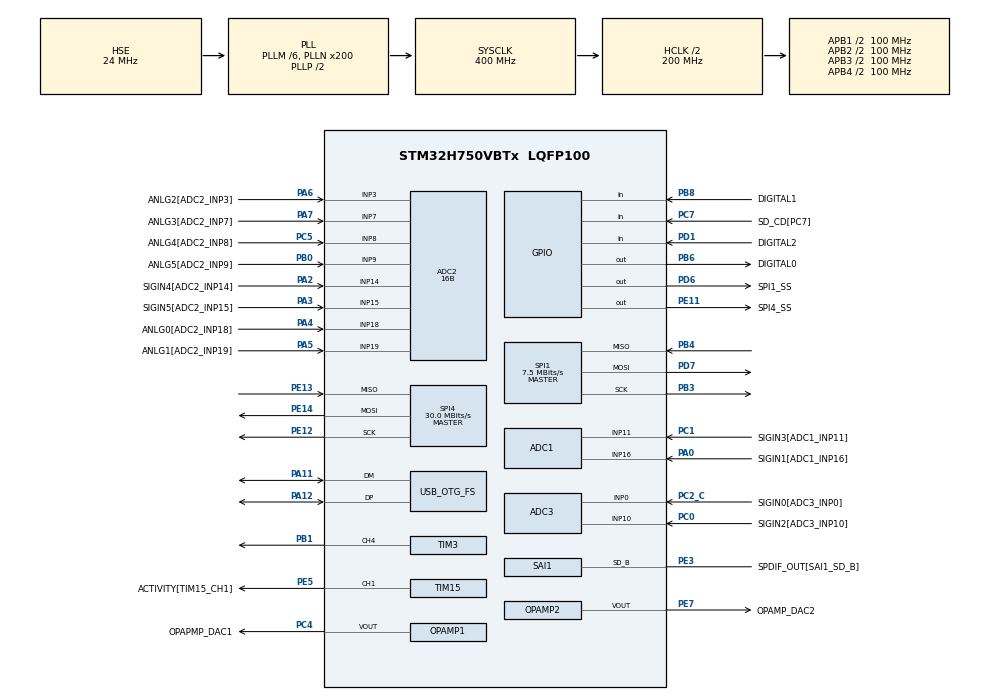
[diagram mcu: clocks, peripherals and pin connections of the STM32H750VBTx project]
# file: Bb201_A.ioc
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ADC1.Channel-0\#ChannelRegularConversion=ADC_CHANNEL_16
ADC1.Channel-1\#ChannelRegularConversion=ADC_CHANNEL_11
ADC1.ClockPrescaler=ADC_CLOCK_ASYNC_DIV8
ADC1.ExternalTrigConv=ADC_EXTERNALTRIG_T6_TRGO
ADC1.NbrOfConversion=2
ADC1.NbrOfConversionFlag=1
ADC1.OffsetNumber-0\#ChannelRegularConversion=ADC_OFFSET_NONE
ADC1.OffsetNumber-1\#ChannelRegularConversion=ADC_OFFSET_NONE
ADC1.Rank-0\#ChannelRegularConversion=1
ADC1.Rank-1\#ChannelRegularConversion=2
ADC1.SamplingTime-0\#ChannelRegularConversion=ADC_SAMPLETIME_1CYCLE_5
ADC1.SamplingTime-1\#ChannelRegularConversion=ADC_SAMPLETIME_1CYCLE_5
ADC1.master=1
ADC2.Channel-0\#ChannelRegularConversion=ADC_CHANNEL_14
ADC2.Channel-1\#ChannelRegularConversion=ADC_CHANNEL_15
ADC2.Channel-2\#ChannelRegularConversion=ADC_CHANNEL_18
ADC2.Channel-3\#ChannelRegularConversion=ADC_CHANNEL_19
ADC2.Channel-4\#ChannelRegularConversion=ADC_CHANNEL_3
ADC2.Channel-5\#ChannelRegularConversion=ADC_CHANNEL_7
ADC2.Channel-6\#ChannelRegularConversion=ADC_CHANNEL_8
ADC2.Channel-7\#ChannelRegularConversion=ADC_CHANNEL_9
ADC2.ClockPrescaler=ADC_CLOCK_ASYNC_DIV8
ADC2.ContinuousConvMode=DISABLE
ADC2.ConversionDataManagement=ADC_CONVERSIONDATA_DMA_CIRCULAR
ADC2.EOCSelection=ADC_EOC_SEQ_CONV
ADC2.EnableInjectedConversion=DISABLE
ADC2.ExternalTrigConv=ADC_EXTERNALTRIG_LPTIM1_OUT
ADC2.NbrOfConversion=8
ADC2.NbrOfConversionFlag=1
ADC2.OffsetNumber-0\#ChannelRegularConversion=ADC_OFFSET_NONE
ADC2.OffsetNumber-1\#ChannelRegularConversion=ADC_OFFSET_NONE
ADC2.OffsetNumber-2\#ChannelRegularConversion=ADC_OFFSET_NONE
ADC2.OffsetNumber-3\#ChannelRegularConversion=ADC_OFFSET_NONE
ADC2.OffsetNumber-4\#ChannelRegularConversion=ADC_OFFSET_NONE
ADC2.OffsetNumber-5\#ChannelRegularConversion=ADC_OFFSET_NONE
ADC2.OffsetNumber-6\#ChannelRegularConversion=ADC_OFFSET_NONE
ADC2.OffsetNumber-7\#ChannelRegularConversion=ADC_OFFSET_NONE
ADC2.Rank-0\#ChannelRegularConversion=1
ADC2.Rank-1\#ChannelRegularConversion=2
ADC2.Rank-2\#ChannelRegularConversion=3
ADC2.Rank-3\#ChannelRegularConversion=4
ADC2.Rank-4\#ChannelRegularConversion=5
ADC2.Rank-5\#ChannelRegularConversion=6
ADC2.Rank-6\#ChannelRegularConversion=7
ADC2.Rank-7\#ChannelRegularConversion=8
ADC2.Resolution=ADC_RESOLUTION_16B
ADC2.SamplingTime-0\#ChannelRegularConversion=ADC_SAMPLETIME_1CYCLE_5
ADC2.SamplingTime-1\#ChannelRegularConversion=ADC_SAMPLETIME_1CYCLE_5
ADC2.SamplingTime-2\#ChannelRegularConversion=ADC_SAMPLETIME_1CYCLE_5
ADC2.SamplingTime-3\#ChannelRegularConversion=ADC_SAMPLETIME_1CYCLE_5
ADC2.SamplingTime-4\#ChannelRegularConversion=ADC_SAMPLETIME_1CYCLE_5
ADC2.SamplingTime-5\#ChannelRegularConversion=ADC_SAMPLETIME_1CYCLE_5
ADC2.SamplingTime-6\#ChannelRegularConversion=ADC_SAMPLETIME_1CYCLE_5
ADC2.SamplingTime-7\#ChannelRegularConversion=ADC_SAMPLETIME_1CYCLE_5
ADC3.Channel-0\#ChannelRegularConversion=ADC_CHANNEL_0
ADC3.ClockPrescaler=ADC_CLOCK_ASYNC_DIV8
ADC3.ExternalTrigConv=ADC_EXTERNALTRIG_T6_TRGO
ADC3.NbrOfConversionFlag=1
ADC3.OffsetNumber-0\#ChannelRegularConversion=ADC_OFFSET_NONE
ADC3.Rank-0\#ChannelRegularConversion=1
ADC3.SamplingTime-0\#ChannelRegularConversion=ADC_SAMPLETIME_1CYCLE_5
CORTEX_M7.CPU_ICache=Enabled
DAC1.DAC_Channel-DAC_OUT2_Int=DAC_CHANNEL_2
Dma.ADC2.0.Direction=DMA_PERIPH_TO_MEMORY
Dma.ADC2.0.EventEnable=DISABLE
Dma.ADC2.0.FIFOMode=DMA_FIFOMODE_DISABLE
Dma.ADC2.0.Instance=DMA1_Stream0
Dma.ADC2.0.MemDataAlignment=DMA_MDATAALIGN_HALFWORD
Dma.ADC2.0.MemInc=DMA_MINC_ENABLE
Dma.ADC2.0.Mode=DMA_CIRCULAR
Dma.ADC2.0.PeriphDataAlignment=DMA_PDATAALIGN_HALFWORD
Dma.ADC2.0.PeriphInc=DMA_PINC_DISABLE
Dma.ADC2.0.Polarity=HAL_DMAMUX_REQ_GEN_RISING
Dma.ADC2.0.Priority=DMA_PRIORITY_LOW
Dma.ADC2.0.RequestNumber=1
Dma.ADC2.0.SignalID=NONE
Dma.ADC2.0.SyncEnable=DISABLE
Dma.ADC2.0.SyncPolarity=HAL_DMAMUX_SYNC_NO_EVENT
Dma.ADC2.0.SyncRequestNumber=1
Dma.ADC2.0.SyncSignalID=NONE
Dma.Request0=ADC2
LPTIM1.ClockPrescaler=LPTIM_PRESCALER_DIV128
Mcu.Family=STM32H7
Mcu.Name=STM32H750VBTx
Mcu.Package=LQFP100
NVIC.DMA1_Stream0_IRQn=true\:0\:0\:false\:false\:true\:false\:true
NVIC.LPTIM1_IRQn=true\:0\:0\:false\:false\:true\:true\:true
NVIC.OTG_FS_IRQn=true\:0\:0\:false\:false\:true\:false\:true
NVIC.PriorityGroup=NVIC_PRIORITYGROUP_0
NVIC.TIM15_IRQn=true\:0\:0\:false\:false\:true\:true\:true
NVIC.TIM7_IRQn=true\:0\:0\:false\:false\:true\:true\:true
PA0.GPIO_Label=SIGIN1[ADC1_INP16]
PA0.Mode=IN16-Single-Ended
PA0.Signal=ADC1_INP16
PA11.Mode=Device_Only
PA11.Signal=USB_OTG_FS_DM
PA12.Mode=Device_Only
PA12.Signal=USB_OTG_FS_DP
PA13\ (JTMS/SWDIO).Mode=Serial_Wire
PA13\ (JTMS/SWDIO).Signal=DEBUG_JTMS-SWDIO
PA14\ (JTCK/SWCLK).Mode=Serial_Wire
PA14\ (JTCK/SWCLK).Signal=DEBUG_JTCK-SWCLK
PA2.GPIO_Label=SIGIN4[ADC2_INP14]
PA2.Signal=ADCx_INP14
PA3.GPIO_Label=SIGIN5[ADC2_INP15]
PA3.Signal=ADCx_INP15
PA4.GPIO_Label=ANLG0[ADC2_INP18]
PA4.Signal=ADCx_INP18
PA5.GPIO_Label=ANLG1[ADC2_INP19]
PA5.Signal=ADCx_INP19
PA6.GPIO_Label=ANLG2[ADC2_INP3]
PA6.Signal=ADCx_INP3
PA7.GPIO_Label=ANLG3[ADC2_INP7]
PA7.Signal=ADCx_INP7
PB0.GPIO_Label=ANLG5[ADC2_INP9]
PB0.Signal=ADCx_INP9
PB1.Signal=S_TIM3_CH4
PB3\ (JTDO/TRACESWO).Mode=Full_Duplex_Master
PB3\ (JTDO/TRACESWO).Signal=SPI1_SCK
PB4\ (NJTRST).Mode=Full_Duplex_Master
PB4\ (NJTRST).Signal=SPI1_MISO
PB6.GPIO_Label=DIGITAL0
PB6.Signal=GPIO_Output
PB8.GPIO_Label=DIGITAL1
PB8.Signal=GPIO_Input
PC0.GPIO_Label=SIGIN2[ADC3_INP10]
PC0.Signal=ADCx_INP10
PC1.GPIO_Label=SIGIN3[ADC1_INP11]
PC1.Signal=ADCx_INP11
PC2_C.GPIO_Label=SIGIN0[ADC3_INP0]
PC2_C.Mode=IN0-Single-Ended
PC2_C.Signal=ADC3_INP0
PC4.GPIO_Label=OPAPMP_DAC1
PC4.Mode=Follower-DAC_OUT1-INP
PC4.Signal=OPAMP1_VOUT
PC5.GPIO_Label=ANLG4[ADC2_INP8]
PC5.Signal=ADCx_INP8
PC7.GPIO_Label=SD_CD[PC7]
PC7.GPIO_PuPd=GPIO_PULLDOWN
PC7.Signal=GPIO_Input
PC9.Signal=SDMMC1_D1
PD1.GPIO_Label=DIGITAL2
PD1.Signal=GPIO_Input
PD6.GPIO_Label=SPI1_SS
PD6.Signal=GPIO_Output
PD7.Mode=Full_Duplex_Master
PD7.Signal=SPI1_MOSI
PE11.GPIO_Label=SPI4_SS
PE11.GPIO_PuPd=GPIO_PULLUP
PE11.GPIO_Speed=GPIO_SPEED_FREQ_MEDIUM
PE11.PinState=GPIO_PIN_SET
PE11.Signal=GPIO_Output
PE12.Mode=Full_Duplex_Master
PE12.Signal=SPI4_SCK
PE13.Mode=Full_Duplex_Master
PE13.Signal=SPI4_MISO
PE14.Mode=Full_Duplex_Master
PE14.Signal=SPI4_MOSI
PE3.GPIO_Label=SPDIF_OUT[SAI1_SD_B]
PE3.Mode=SAI_B_SPDIF
PE3.Signal=SAI1_SD_B
PE5.GPIO_Label=ACTIVITY[TIM15_CH1]
PE5.Signal=S_TIM15_CH1
PE7.GPIO_Label=OPAMP_DAC2
PE7.Mode=Follower-DAC_OUT2-INP
PE7.Signal=OPAMP2_VOUT
PH0-OSC_IN\ (PH0).Mode=HSE-External-Oscillator
PH0-OSC_IN\ (PH0).Signal=RCC_OSC_IN
PH1-OSC_OUT\ (PH1).Mode=HSE-External-Oscillator
PH1-OSC_OUT\ (PH1).Signal=RCC_OSC_OUT
ProjectManager.HeapSize=0x200
ProjectManager.StackSize=0x400
ProjectManager.TargetToolchain=STM32CubeIDE
RCC.ADCFreq_Value=12000000
RCC.APB1Freq_Value=100000000
RCC.APB2Freq_Value=100000000
RCC.APB3Freq_Value=100000000
RCC.APB4Freq_Value=100000000
RCC.CKPERSourceSelection=RCC_CLKPSOURCE_HSE
RCC.CortexFreq_Value=400000000
RCC.D1PPRE=RCC_APB3_DIV2
RCC.D2PPRE1=RCC_APB1_DIV2
RCC.D2PPRE2=RCC_APB2_DIV2
RCC.D3PPRE=RCC_APB4_DIV2
RCC.DIVM1=6
RCC.DIVM2=2
RCC.DIVM3=16
RCC.DIVN1=200
RCC.DIVN2=20
RCC.DIVN3=160
RCC.DIVP2=20
RCC.DIVP3=8
RCC.DIVQ1=8
RCC.DIVR1=8
RCC.DIVR2=10
RCC.HCLKFreq_Value=200000000
RCC.HPRE=RCC_HCLK_DIV2
RCC.HSE_VALUE=24000000
RCC.PLL1_VCI_Range=RCC_PLL1VCIRANGE_3
RCC.PLL2_VCI_Range=RCC_PLL2VCIRANGE_3
RCC.PLLSourceVirtual=RCC_PLLSOURCE_HSE
RCC.SAI1CLockSelection=RCC_SAI1CLKSOURCE_PLL3
RCC.SDMMC1CLockSelection=RCC_SDMMCCLKSOURCE_PLL2
RCC.SPI123CLockSelection=RCC_SPI123CLKSOURCE_PLL3
RCC.SYSCLKFreq_VALUE=400000000
RCC.SYSCLKSource=RCC_SYSCLKSOURCE_PLLCLK
RCC.Spi45ClockSelection=RCC_SPI45CLKSOURCE_PLL3
RCC.USBCLockSelection=RCC_USBCLKSOURCE_HSI48
RCC.USBFreq_Value=48000000
SAI1.Instance-SAI_B_SPDIF=SAI$Index_Block_B
SAI1.RealAudioFreq-SAI_B_SPDIF=7.5 MHz
SAI1.VirtualMode-SAI_B_SPDIF=VM_SPDIF
SH.ADCx_INP10.0=ADC3_INP10,IN10-Single-Ended
SH.ADCx_INP11.0=ADC1_INP11,IN11-Single-Ended
SH.ADCx_INP14.0=ADC2_INP14,IN14-Single-Ended
SH.ADCx_INP15.0=ADC2_INP15,IN15-Single-Ended
SH.ADCx_INP18.0=ADC2_INP18,IN18-Single-Ended
SH.ADCx_INP19.0=ADC2_INP19,IN19-Single-Ended
SH.ADCx_INP3.0=ADC2_INP3,IN3-Single-Ended
SH.ADCx_INP7.0=ADC2_INP7,IN7-Single-Ended
SH.ADCx_INP8.0=ADC2_INP8,IN8-Single-Ended
SH.ADCx_INP9.0=ADC2_INP9,IN9-Single-Ended
SH.S_TIM15_CH1.0=TIM15_CH1,PWM Generation1 CH1
SH.S_TIM3_CH4.0=TIM3_CH4,PWM Generation4 CH4
SPI1.BaudRatePrescaler=SPI_BAUDRATEPRESCALER_4
SPI1.CalculateBaudRate=7.5 MBits/s
SPI1.DataSize=SPI_DATASIZE_8BIT
SPI1.Direction=SPI_DIRECTION_2LINES
SPI1.Mode=SPI_MODE_MASTER
SPI1.VirtualType=VM_MASTER
SPI4.BaudRatePrescaler=SPI_BAUDRATEPRESCALER_4
SPI4.CalculateBaudRate=30.0 MBits/s
SPI4.DataSize=SPI_DATASIZE_8BIT
SPI4.Direction=SPI_DIRECTION_2LINES
SPI4.Mode=SPI_MODE_MASTER
SPI4.VirtualType=VM_MASTER
TIM15.Channel-PWM\ Generation1\ CH1=TIM_CHANNEL_1
TIM15.OCPolarity_1=TIM_OCPOLARITY_LOW
TIM15.Period=40000
TIM15.Prescaler=4800
TIM15.Pulse-PWM\ Generation1\ CH1=1000
TIM3.Channel-PWM\ Generation4\ CH4=TIM_CHANNEL_4
TIM3.Period=20000
TIM3.Prescaler=200
TIM3.Pulse-PWM\ Generation4\ CH4=10000
TIM6.TIM_MasterOutputTrigger=TIM_TRGO_UPDATE
TIM7.Period=100
TIM7.Prescaler=20000
TIM8.TIM_MasterOutputTrigger=TIM_TRGO_UPDATE
USB_DEVICE.CLASS_NAME_FS=CDC
USB_DEVICE.VirtualMode-CDC_FS=Cdc
USB_DEVICE.VirtualModeFS=Cdc_FS
USB_OTG_FS.VirtualMode=Device_Only
VP_DAC1_VS_DACI1.Mode=DAC_OUT1_Int
VP_DAC1_VS_DACI2.Mode=DAC_OUT2_Int
VP_LPTIM1_VS_LPTIM_counterModeInternalClock.Mode=Counts__internal_clock_event_00
VP_TIM15_VS_ClockSourceINT.Mode=Internal
VP_TIM3_VS_ClockSourceINT.Mode=Internal
VP_TIM6_VS_ClockSourceINT.Mode=Enable_Timer
VP_TIM7_VS_ClockSourceINT.Mode=Enable_Timer
VP_TIM8_VS_ClockSourceINT.Mode=Internal
VP_USB_DEVICE_VS_USB_DEVICE_CDC_FS.Mode=CDC_FS
board=custom

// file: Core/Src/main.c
/* USER CODE BEGIN Header */
/**
  ******************************************************************************
  * @file           : main.c
  * @brief          : Main program body
  ******************************************************************************
  * @attention
  *
  * <h2><center>&copy; Copyright (c) 2020 STMicroelectronics.
  * All rights reserved.</center></h2>
  *
  * This software component is licensed by ST under BSD 3-Clause license,
  * the "License"; You may not use this file except in compliance with the
  * License. You may obtain a copy of the License at:
  *                        opensource.org/licenses/BSD-3-Clause
  *
  ******************************************************************************
  */
/* USER CODE END Header */

#include "main.h"
#include "usb_device.h"

/* USER CODE BEGIN Includes */
#include "Lcd/Lcd.h"
#include "SpiFlash/FlashOps.h"

/* USER CODE END Includes */

ADC_HandleTypeDef hadc1;
ADC_HandleTypeDef hadc2;
ADC_HandleTypeDef hadc3;
DMA_HandleTypeDef hdma_adc2;

DAC_HandleTypeDef hdac1;

LPTIM_HandleTypeDef hlptim1;

OPAMP_HandleTypeDef hopamp1;
OPAMP_HandleTypeDef hopamp2;

SAI_HandleTypeDef hsai_BlockB1;

SPI_HandleTypeDef hspi1;
SPI_HandleTypeDef hspi4;

TIM_HandleTypeDef htim3;
TIM_HandleTypeDef htim6;
TIM_HandleTypeDef htim7;
TIM_HandleTypeDef htim8;
TIM_HandleTypeDef htim15;

void SystemClock_Config(void);
static void MX_GPIO_Init(void);
static void MX_ADC1_Init(void);
static void MX_ADC2_Init(void);
static void MX_ADC3_Init(void);
static void MX_DAC1_Init(void);
static void MX_OPAMP1_Init(void);
static void MX_OPAMP2_Init(void);
static void MX_SPI4_Init(void);
static void MX_TIM15_Init(void);
static void MX_SAI1_Init(void);
static void MX_SPI1_Init(void);
static void MX_DMA_Init(void);
static void MX_TIM6_Init(void);
static void MX_TIM8_Init(void);
static void MX_LPTIM1_Init(void);
static void MX_TIM3_Init(void);
static void MX_TIM7_Init(void);

/* USER CODE BEGIN 0 */
uint16_t	flash_present, number_of_images;
uint16_t	lcd_brightness, lcd_brightness_direction;

/* USER CODE END 0 */

int main(void)
{

  /* Enable I-Cache---------------------------------------------------------*/
  SCB_EnableICache();

  /* MCU Configuration--------------------------------------------------------*/

  /* Reset of all peripherals, Initializes the Flash interface and the Systick. */
  HAL_Init();

  /* Configure the system clock */
  SystemClock_Config();

  /* Initialize all configured peripherals */
  MX_GPIO_Init();
  MX_ADC1_Init();
  MX_ADC2_Init();
  MX_ADC3_Init();
  MX_DAC1_Init();
  MX_OPAMP1_Init();
  MX_OPAMP2_Init();
  MX_SPI4_Init();
  MX_TIM15_Init();
  MX_SAI1_Init();
  MX_SPI1_Init();
  MX_USB_DEVICE_Init();
  MX_DMA_Init();
  MX_TIM6_Init();
  MX_TIM8_Init();
  MX_LPTIM1_Init();
  MX_TIM3_Init();
  MX_TIM7_Init();
  /* USER CODE BEGIN 2 */
  flash_present= FlashOps_Setup();
  if ( flash_present )
	  number_of_images = FlashOpsCheckImages();
  HAL_TIM_PWM_Start(&htim15,TIM_CHANNEL_1);
  LcdInit();
  HAL_TIM_Base_Start_IT(&htim7);
  ControlInit();
  lcd_brightness=0;
  lcd_brightness_direction = 1; // up
  /* USER CODE END 2 */

  /* Infinite loop */
  /* USER CODE BEGIN WHILE */
  while (1)
  {
	  if ( lcd_brightness_direction == 1)
	  {
		  lcd_brightness++;
		  if ( lcd_brightness == 0xffff)
			  lcd_brightness_direction = 0;
	  }
	  if ( lcd_brightness_direction == 0)
	  {
		  lcd_brightness--;
		  if ( lcd_brightness == 0)
			  lcd_brightness_direction = 1;
	  }
	  LcdSetBrightness(lcd_brightness);
	  //HAL_Delay(10);
    /* USER CODE END WHILE */

  }
}

void SystemClock_Config(void)
{
  RCC_OscInitTypeDef RCC_OscInitStruct = {0};
  RCC_ClkInitTypeDef RCC_ClkInitStruct = {0};
  RCC_PeriphCLKInitTypeDef PeriphClkInitStruct = {0};

  /** Supply configuration update enable
  */
  HAL_PWREx_ConfigSupply(PWR_LDO_SUPPLY);
  /** Configure the main internal regulator output voltage
  */
  __HAL_PWR_VOLTAGESCALING_CONFIG(PWR_REGULATOR_VOLTAGE_SCALE1);

  while(!__HAL_PWR_GET_FLAG(PWR_FLAG_VOSRDY)) {}
  /** Macro to configure the PLL clock source
  */
  __HAL_RCC_PLL_PLLSOURCE_CONFIG(RCC_PLLSOURCE_HSE);
  /** Initializes the CPU, AHB and APB busses clocks
  */
  RCC_OscInitStruct.OscillatorType = RCC_OSCILLATORTYPE_HSI48|RCC_OSCILLATORTYPE_HSE;
  RCC_OscInitStruct.HSEState = RCC_HSE_ON;
  RCC_OscInitStruct.HSI48State = RCC_HSI48_ON;
  RCC_OscInitStruct.PLL.PLLState = RCC_PLL_ON;
  RCC_OscInitStruct.PLL.PLLSource = RCC_PLLSOURCE_HSE;
  RCC_OscInitStruct.PLL.PLLM = 6;
  RCC_OscInitStruct.PLL.PLLN = 200;
  RCC_OscInitStruct.PLL.PLLP = 2;
  RCC_OscInitStruct.PLL.PLLQ = 8;
  RCC_OscInitStruct.PLL.PLLR = 8;
  RCC_OscInitStruct.PLL.PLLRGE = RCC_PLL1VCIRANGE_3;
  RCC_OscInitStruct.PLL.PLLVCOSEL = RCC_PLL1VCOWIDE;
  RCC_OscInitStruct.PLL.PLLFRACN = 0;
  if (HAL_RCC_OscConfig(&RCC_OscInitStruct) != HAL_OK)
  {
    Error_Handler();
  }
  /** Initializes the CPU, AHB and APB busses clocks
  */
  RCC_ClkInitStruct.ClockType = RCC_CLOCKTYPE_HCLK|RCC_CLOCKTYPE_SYSCLK
                              |RCC_CLOCKTYPE_PCLK1|RCC_CLOCKTYPE_PCLK2
                              |RCC_CLOCKTYPE_D3PCLK1|RCC_CLOCKTYPE_D1PCLK1;
  RCC_ClkInitStruct.SYSCLKSource = RCC_SYSCLKSOURCE_PLLCLK;
  RCC_ClkInitStruct.SYSCLKDivider = RCC_SYSCLK_DIV1;
  RCC_ClkInitStruct.AHBCLKDivider = RCC_HCLK_DIV2;
  RCC_ClkInitStruct.APB3CLKDivider = RCC_APB3_DIV2;
  RCC_ClkInitStruct.APB1CLKDivider = RCC_APB1_DIV2;
  RCC_ClkInitStruct.APB2CLKDivider = RCC_APB2_DIV2;
  RCC_ClkInitStruct.APB4CLKDivider = RCC_APB4_DIV2;

  if (HAL_RCC_ClockConfig(&RCC_ClkInitStruct, FLASH_LATENCY_2) != HAL_OK)
  {
    Error_Handler();
  }
  PeriphClkInitStruct.PeriphClockSelection = RCC_PERIPHCLK_SPI4|RCC_PERIPHCLK_SPI1
                              |RCC_PERIPHCLK_SAI1|RCC_PERIPHCLK_ADC
                              |RCC_PERIPHCLK_USB|RCC_PERIPHCLK_LPTIM1;
  PeriphClkInitStruct.PLL2.PLL2M = 2;
  PeriphClkInitStruct.PLL2.PLL2N = 20;
  PeriphClkInitStruct.PLL2.PLL2P = 20;
  PeriphClkInitStruct.PLL2.PLL2Q = 2;
  PeriphClkInitStruct.PLL2.PLL2R = 10;
  PeriphClkInitStruct.PLL2.PLL2RGE = RCC_PLL2VCIRANGE_3;
  PeriphClkInitStruct.PLL2.PLL2VCOSEL = RCC_PLL2VCOWIDE;
  PeriphClkInitStruct.PLL2.PLL2FRACN = 0;
  PeriphClkInitStruct.PLL3.PLL3M = 16;
  PeriphClkInitStruct.PLL3.PLL3N = 160;
  PeriphClkInitStruct.PLL3.PLL3P = 8;
  PeriphClkInitStruct.PLL3.PLL3Q = 2;
  PeriphClkInitStruct.PLL3.PLL3R = 2;
  PeriphClkInitStruct.PLL3.PLL3RGE = RCC_PLL3VCIRANGE_0;
  PeriphClkInitStruct.PLL3.PLL3VCOSEL = RCC_PLL3VCOWIDE;
  PeriphClkInitStruct.PLL3.PLL3FRACN = 0;
  PeriphClkInitStruct.Sai1ClockSelection = RCC_SAI1CLKSOURCE_PLL3;
  PeriphClkInitStruct.Spi123ClockSelection = RCC_SPI123CLKSOURCE_PLL3;
  PeriphClkInitStruct.Spi45ClockSelection = RCC_SPI45CLKSOURCE_PLL3;
  PeriphClkInitStruct.UsbClockSelection = RCC_USBCLKSOURCE_HSI48;
  PeriphClkInitStruct.Lptim1ClockSelection = RCC_LPTIM1CLKSOURCE_D2PCLK1;
  PeriphClkInitStruct.AdcClockSelection = RCC_ADCCLKSOURCE_PLL2;
  if (HAL_RCCEx_PeriphCLKConfig(&PeriphClkInitStruct) != HAL_OK)
  {
    Error_Handler();
  }
  /** Enable USB Voltage detector
  */
  HAL_PWREx_EnableUSBVoltageDetector();
}

static void MX_ADC1_Init(void)
{

  ADC_MultiModeTypeDef multimode = {0};
  ADC_ChannelConfTypeDef sConfig = {0};

  /** Common config
  */
  hadc1.Instance = ADC1;
  hadc1.Init.ClockPrescaler = ADC_CLOCK_ASYNC_DIV8;
  hadc1.Init.Resolution = ADC_RESOLUTION_16B;
  hadc1.Init.ScanConvMode = ADC_SCAN_ENABLE;
  hadc1.Init.EOCSelection = ADC_EOC_SINGLE_CONV;
  hadc1.Init.LowPowerAutoWait = DISABLE;
  hadc1.Init.ContinuousConvMode = DISABLE;
  hadc1.Init.NbrOfConversion = 2;
  hadc1.Init.DiscontinuousConvMode = DISABLE;
  hadc1.Init.ExternalTrigConv = ADC_EXTERNALTRIG_T6_TRGO;
  hadc1.Init.ExternalTrigConvEdge = ADC_EXTERNALTRIGCONVEDGE_RISING;
  hadc1.Init.ConversionDataManagement = ADC_CONVERSIONDATA_DR;
  hadc1.Init.Overrun = ADC_OVR_DATA_PRESERVED;
  hadc1.Init.LeftBitShift = ADC_LEFTBITSHIFT_NONE;
  hadc1.Init.OversamplingMode = DISABLE;
  if (HAL_ADC_Init(&hadc1) != HAL_OK)
  {
    Error_Handler();
  }
  /** Configure the ADC multi-mode
  */
  multimode.Mode = ADC_MODE_INDEPENDENT;
  if (HAL_ADCEx_MultiModeConfigChannel(&hadc1, &multimode) != HAL_OK)
  {
    Error_Handler();
  }
  /** Configure Regular Channel
  */
  sConfig.Channel = ADC_CHANNEL_16;
  sConfig.Rank = ADC_REGULAR_RANK_1;
  sConfig.SamplingTime = ADC_SAMPLETIME_1CYCLE_5;
  sConfig.SingleDiff = ADC_SINGLE_ENDED;
  sConfig.OffsetNumber = ADC_OFFSET_NONE;
  sConfig.Offset = 0;
  if (HAL_ADC_ConfigChannel(&hadc1, &sConfig) != HAL_OK)
  {
    Error_Handler();
  }
  /** Configure Regular Channel
  */
  sConfig.Channel = ADC_CHANNEL_11;
  sConfig.Rank = ADC_REGULAR_RANK_2;
  if (HAL_ADC_ConfigChannel(&hadc1, &sConfig) != HAL_OK)
  {
    Error_Handler();
  }

}

static void MX_ADC2_Init(void)
{

  ADC_ChannelConfTypeDef sConfig = {0};

  /** Common config
  */
  hadc2.Instance = ADC2;
  hadc2.Init.ClockPrescaler = ADC_CLOCK_ASYNC_DIV8;
  hadc2.Init.Resolution = ADC_RESOLUTION_16B;
  hadc2.Init.ScanConvMode = ADC_SCAN_ENABLE;
  hadc2.Init.EOCSelection = ADC_EOC_SEQ_CONV;
  hadc2.Init.LowPowerAutoWait = DISABLE;
  hadc2.Init.ContinuousConvMode = DISABLE;
  hadc2.Init.NbrOfConversion = 8;
  hadc2.Init.DiscontinuousConvMode = DISABLE;
  hadc2.Init.ExternalTrigConv = ADC_EXTERNALTRIG_LPTIM1_OUT;
  hadc2.Init.ExternalTrigConvEdge = ADC_EXTERNALTRIGCONVEDGE_RISING;
  hadc2.Init.ConversionDataManagement = ADC_CONVERSIONDATA_DMA_CIRCULAR;
  hadc2.Init.Overrun = ADC_OVR_DATA_PRESERVED;
  hadc2.Init.LeftBitShift = ADC_LEFTBITSHIFT_NONE;
  hadc2.Init.OversamplingMode = DISABLE;
  if (HAL_ADC_Init(&hadc2) != HAL_OK)
  {
    Error_Handler();
  }
  /** Configure Regular Channel
  */
  sConfig.Channel = ADC_CHANNEL_14;
  sConfig.Rank = ADC_REGULAR_RANK_1;
  sConfig.SamplingTime = ADC_SAMPLETIME_1CYCLE_5;
  sConfig.SingleDiff = ADC_SINGLE_ENDED;
  sConfig.OffsetNumber = ADC_OFFSET_NONE;
  sConfig.Offset = 0;
  if (HAL_ADC_ConfigChannel(&hadc2, &sConfig) != HAL_OK)
  {
    Error_Handler();
  }
  /** Configure Regular Channel
  */
  sConfig.Channel = ADC_CHANNEL_15;
  sConfig.Rank = ADC_REGULAR_RANK_2;
  if (HAL_ADC_ConfigChannel(&hadc2, &sConfig) != HAL_OK)
  {
    Error_Handler();
  }
  /** Configure Regular Channel
  */
  sConfig.Channel = ADC_CHANNEL_18;
  sConfig.Rank = ADC_REGULAR_RANK_3;
  if (HAL_ADC_ConfigChannel(&hadc2, &sConfig) != HAL_OK)
  {
    Error_Handler();
  }
  /** Configure Regular Channel
  */
  sConfig.Channel = ADC_CHANNEL_19;
  sConfig.Rank = ADC_REGULAR_RANK_4;
  if (HAL_ADC_ConfigChannel(&hadc2, &sConfig) != HAL_OK)
  {
    Error_Handler();
  }
  /** Configure Regular Channel
  */
  sConfig.Channel = ADC_CHANNEL_3;
  sConfig.Rank = ADC_REGULAR_RANK_5;
  if (HAL_ADC_ConfigChannel(&hadc2, &sConfig) != HAL_OK)
  {
    Error_Handler();
  }
  /** Configure Regular Channel
  */
  sConfig.Channel = ADC_CHANNEL_7;
  sConfig.Rank = ADC_REGULAR_RANK_6;
  if (HAL_ADC_ConfigChannel(&hadc2, &sConfig) != HAL_OK)
  {
    Error_Handler();
  }
  /** Configure Regular Channel
  */
  sConfig.Channel = ADC_CHANNEL_8;
  sConfig.Rank = ADC_REGULAR_RANK_7;
  if (HAL_ADC_ConfigChannel(&hadc2, &sConfig) != HAL_OK)
  {
    Error_Handler();
  }
  /** Configure Regular Channel
  */
  sConfig.Channel = ADC_CHANNEL_9;
  sConfig.Rank = ADC_REGULAR_RANK_8;
  if (HAL_ADC_ConfigChannel(&hadc2, &sConfig) != HAL_OK)
  {
    Error_Handler();
  }

}

static void MX_ADC3_Init(void)
{

  ADC_ChannelConfTypeDef sConfig = {0};

  /** Common config
  */
  hadc3.Instance = ADC3;
  hadc3.Init.ClockPrescaler = ADC_CLOCK_ASYNC_DIV8;
  hadc3.Init.Resolution = ADC_RESOLUTION_16B;
  hadc3.Init.ScanConvMode = ADC_SCAN_DISABLE;
  hadc3.Init.EOCSelection = ADC_EOC_SINGLE_CONV;
  hadc3.Init.LowPowerAutoWait = DISABLE;
  hadc3.Init.ContinuousConvMode = DISABLE;
  hadc3.Init.NbrOfConversion = 1;
  hadc3.Init.DiscontinuousConvMode = DISABLE;
  hadc3.Init.ExternalTrigConv = ADC_EXTERNALTRIG_T6_TRGO;
  hadc3.Init.ExternalTrigConvEdge = ADC_EXTERNALTRIGCONVEDGE_RISING;
  hadc3.Init.ConversionDataManagement = ADC_CONVERSIONDATA_DR;
  hadc3.Init.Overrun = ADC_OVR_DATA_PRESERVED;
  hadc3.Init.LeftBitShift = ADC_LEFTBITSHIFT_NONE;
  hadc3.Init.OversamplingMode = DISABLE;
  if (HAL_ADC_Init(&hadc3) != HAL_OK)
  {
    Error_Handler();
  }
  /** Configure Regular Channel
  */
  sConfig.Channel = ADC_CHANNEL_0;
  sConfig.Rank = ADC_REGULAR_RANK_1;
  sConfig.SamplingTime = ADC_SAMPLETIME_1CYCLE_5;
  sConfig.SingleDiff = ADC_SINGLE_ENDED;
  sConfig.OffsetNumber = ADC_OFFSET_NONE;
  sConfig.Offset = 0;
  if (HAL_ADC_ConfigChannel(&hadc3, &sConfig) != HAL_OK)
  {
    Error_Handler();
  }

}

static void MX_DAC1_Init(void)
{

  DAC_ChannelConfTypeDef sConfig = {0};

  /** DAC Initialization
  */
  hdac1.Instance = DAC1;
  if (HAL_DAC_Init(&hdac1) != HAL_OK)
  {
    Error_Handler();
  }
  /** DAC channel OUT1 config
  */
  sConfig.DAC_SampleAndHold = DAC_SAMPLEANDHOLD_DISABLE;
  sConfig.DAC_Trigger = DAC_TRIGGER_NONE;
  sConfig.DAC_OutputBuffer = DAC_OUTPUTBUFFER_DISABLE;
  sConfig.DAC_ConnectOnChipPeripheral = DAC_CHIPCONNECT_ENABLE;
  sConfig.DAC_UserTrimming = DAC_TRIMMING_FACTORY;
  if (HAL_DAC_ConfigChannel(&hdac1, &sConfig, DAC_CHANNEL_1) != HAL_OK)
  {
    Error_Handler();
  }
  /** DAC channel OUT2 config
  */
  sConfig.DAC_ConnectOnChipPeripheral = DAC_CHIPCONNECT_ENABLE;
  if (HAL_DAC_ConfigChannel(&hdac1, &sConfig, DAC_CHANNEL_2) != HAL_OK)
  {
    Error_Handler();
  }

}

static void MX_LPTIM1_Init(void)
{

  hlptim1.Instance = LPTIM1;
  hlptim1.Init.Clock.Source = LPTIM_CLOCKSOURCE_APBCLOCK_LPOSC;
  hlptim1.Init.Clock.Prescaler = LPTIM_PRESCALER_DIV128;
  hlptim1.Init.Trigger.Source = LPTIM_TRIGSOURCE_SOFTWARE;
  hlptim1.Init.OutputPolarity = LPTIM_OUTPUTPOLARITY_HIGH;
  hlptim1.Init.UpdateMode = LPTIM_UPDATE_IMMEDIATE;
  hlptim1.Init.CounterSource = LPTIM_COUNTERSOURCE_INTERNAL;
  hlptim1.Init.Input1Source = LPTIM_INPUT1SOURCE_GPIO;
  hlptim1.Init.Input2Source = LPTIM_INPUT2SOURCE_GPIO;
  if (HAL_LPTIM_Init(&hlptim1) != HAL_OK)
  {
    Error_Handler();
  }

}

static void MX_OPAMP1_Init(void)
{

  hopamp1.Instance = OPAMP1;
  hopamp1.Init.Mode = OPAMP_FOLLOWER_MODE;
  hopamp1.Init.NonInvertingInput = OPAMP_NONINVERTINGINPUT_DAC_CH;
  hopamp1.Init.PowerMode = OPAMP_POWERMODE_NORMAL;
  hopamp1.Init.UserTrimming = OPAMP_TRIMMING_FACTORY;
  if (HAL_OPAMP_Init(&hopamp1) != HAL_OK)
  {
    Error_Handler();
  }

}

static void MX_OPAMP2_Init(void)
{

  hopamp2.Instance = OPAMP2;
  hopamp2.Init.Mode = OPAMP_FOLLOWER_MODE;
  hopamp2.Init.NonInvertingInput = OPAMP_NONINVERTINGINPUT_DAC_CH;
  hopamp2.Init.PowerMode = OPAMP_POWERMODE_NORMAL;
  hopamp2.Init.UserTrimming = OPAMP_TRIMMING_FACTORY;
  if (HAL_OPAMP_Init(&hopamp2) != HAL_OK)
  {
    Error_Handler();
  }

}

static void MX_SAI1_Init(void)
{

  hsai_BlockB1.Instance = SAI1_Block_B;
  hsai_BlockB1.Init.Protocol = SAI_SPDIF_PROTOCOL;
  hsai_BlockB1.Init.AudioMode = SAI_MODEMASTER_TX;
  hsai_BlockB1.Init.Synchro = SAI_ASYNCHRONOUS;
  hsai_BlockB1.Init.OutputDrive = SAI_OUTPUTDRIVE_DISABLE;
  hsai_BlockB1.Init.FIFOThreshold = SAI_FIFOTHRESHOLD_EMPTY;
  hsai_BlockB1.Init.AudioFrequency = SAI_AUDIO_FREQUENCY_48K;
  hsai_BlockB1.Init.MonoStereoMode = SAI_STEREOMODE;
  hsai_BlockB1.Init.CompandingMode = SAI_NOCOMPANDING;
  hsai_BlockB1.Init.PdmInit.Activation = DISABLE;
  hsai_BlockB1.Init.PdmInit.MicPairsNbr = 1;
  hsai_BlockB1.Init.PdmInit.ClockEnable = SAI_PDM_CLOCK1_ENABLE;
  if (HAL_SAI_Init(&hsai_BlockB1) != HAL_OK)
  {
    Error_Handler();
  }

}

static void MX_SPI1_Init(void)
{

  /* SPI1 parameter configuration*/
  hspi1.Instance = SPI1;
  hspi1.Init.Mode = SPI_MODE_MASTER;
  hspi1.Init.Direction = SPI_DIRECTION_2LINES;
  hspi1.Init.DataSize = SPI_DATASIZE_8BIT;
  hspi1.Init.CLKPolarity = SPI_POLARITY_LOW;
  hspi1.Init.CLKPhase = SPI_PHASE_1EDGE;
  hspi1.Init.NSS = SPI_NSS_SOFT;
  hspi1.Init.BaudRatePrescaler = SPI_BAUDRATEPRESCALER_4;
  hspi1.Init.FirstBit = SPI_FIRSTBIT_MSB;
  hspi1.Init.TIMode = SPI_TIMODE_DISABLE;
  hspi1.Init.CRCCalculation = SPI_CRCCALCULATION_DISABLE;
  hspi1.Init.CRCPolynomial = 0x0;
  hspi1.Init.NSSPMode = SPI_NSS_PULSE_ENABLE;
  hspi1.Init.NSSPolarity = SPI_NSS_POLARITY_LOW;
  hspi1.Init.FifoThreshold = SPI_FIFO_THRESHOLD_01DATA;
  hspi1.Init.TxCRCInitializationPattern = SPI_CRC_INITIALIZATION_ALL_ZERO_PATTERN;
  hspi1.Init.RxCRCInitializationPattern = SPI_CRC_INITIALIZATION_ALL_ZERO_PATTERN;
  hspi1.Init.MasterSSIdleness = SPI_MASTER_SS_IDLENESS_00CYCLE;
  hspi1.Init.MasterInterDataIdleness = SPI_MASTER_INTERDATA_IDLENESS_00CYCLE;
  hspi1.Init.MasterReceiverAutoSusp = SPI_MASTER_RX_AUTOSUSP_DISABLE;
  hspi1.Init.MasterKeepIOState = SPI_MASTER_KEEP_IO_STATE_DISABLE;
  hspi1.Init.IOSwap = SPI_IO_SWAP_DISABLE;
  if (HAL_SPI_Init(&hspi1) != HAL_OK)
  {
    Error_Handler();
  }

}

static void MX_SPI4_Init(void)
{

  /* SPI4 parameter configuration*/
  hspi4.Instance = SPI4;
  hspi4.Init.Mode = SPI_MODE_MASTER;
  hspi4.Init.Direction = SPI_DIRECTION_2LINES;
  hspi4.Init.DataSize = SPI_DATASIZE_8BIT;
  hspi4.Init.CLKPolarity = SPI_POLARITY_LOW;
  hspi4.Init.CLKPhase = SPI_PHASE_1EDGE;
  hspi4.Init.NSS = SPI_NSS_SOFT;
  hspi4.Init.BaudRatePrescaler = SPI_BAUDRATEPRESCALER_4;
  hspi4.Init.FirstBit = SPI_FIRSTBIT_MSB;
  hspi4.Init.TIMode = SPI_TIMODE_DISABLE;
  hspi4.Init.CRCCalculation = SPI_CRCCALCULATION_DISABLE;
  hspi4.Init.CRCPolynomial = 0x0;
  hspi4.Init.NSSPMode = SPI_NSS_PULSE_ENABLE;
  hspi4.Init.NSSPolarity = SPI_NSS_POLARITY_LOW;
  hspi4.Init.FifoThreshold = SPI_FIFO_THRESHOLD_01DATA;
  hspi4.Init.TxCRCInitializationPattern = SPI_CRC_INITIALIZATION_ALL_ZERO_PATTERN;
  hspi4.Init.RxCRCInitializationPattern = SPI_CRC_INITIALIZATION_ALL_ZERO_PATTERN;
  hspi4.Init.MasterSSIdleness = SPI_MASTER_SS_IDLENESS_00CYCLE;
  hspi4.Init.MasterInterDataIdleness = SPI_MASTER_INTERDATA_IDLENESS_00CYCLE;
  hspi4.Init.MasterReceiverAutoSusp = SPI_MASTER_RX_AUTOSUSP_DISABLE;
  hspi4.Init.MasterKeepIOState = SPI_MASTER_KEEP_IO_STATE_DISABLE;
  hspi4.Init.IOSwap = SPI_IO_SWAP_DISABLE;
  if (HAL_SPI_Init(&hspi4) != HAL_OK)
  {
    Error_Handler();
  }

}

static void MX_TIM3_Init(void)
{

  TIM_ClockConfigTypeDef sClockSourceConfig = {0};
  TIM_MasterConfigTypeDef sMasterConfig = {0};
  TIM_OC_InitTypeDef sConfigOC = {0};

  htim3.Instance = TIM3;
  htim3.Init.Prescaler = 200;
  htim3.Init.CounterMode = TIM_COUNTERMODE_UP;
  htim3.Init.Period = 20000;
  htim3.Init.ClockDivision = TIM_CLOCKDIVISION_DIV1;
  htim3.Init.AutoReloadPreload = TIM_AUTORELOAD_PRELOAD_DISABLE;
  if (HAL_TIM_Base_Init(&htim3) != HAL_OK)
  {
    Error_Handler();
  }
  sClockSourceConfig.ClockSource = TIM_CLOCKSOURCE_INTERNAL;
  if (HAL_TIM_ConfigClockSource(&htim3, &sClockSourceConfig) != HAL_OK)
  {
    Error_Handler();
  }
  if (HAL_TIM_PWM_Init(&htim3) != HAL_OK)
  {
    Error_Handler();
  }
  sMasterConfig.MasterOutputTrigger = TIM_TRGO_RESET;
  sMasterConfig.MasterSlaveMode = TIM_MASTERSLAVEMODE_DISABLE;
  if (HAL_TIMEx_MasterConfigSynchronization(&htim3, &sMasterConfig) != HAL_OK)
  {
    Error_Handler();
  }
  sConfigOC.OCMode = TIM_OCMODE_PWM1;
  sConfigOC.Pulse = 10000;
  sConfigOC.OCPolarity = TIM_OCPOLARITY_HIGH;
  sConfigOC.OCFastMode = TIM_OCFAST_DISABLE;
  if (HAL_TIM_PWM_ConfigChannel(&htim3, &sConfigOC, TIM_CHANNEL_4) != HAL_OK)
  {
    Error_Handler();
  }
  HAL_TIM_MspPostInit(&htim3);

}

static void MX_TIM6_Init(void)
{

  TIM_MasterConfigTypeDef sMasterConfig = {0};

  htim6.Instance = TIM6;
  htim6.Init.Prescaler = 0;
  htim6.Init.CounterMode = TIM_COUNTERMODE_UP;
  htim6.Init.Period = 0;
  htim6.Init.AutoReloadPreload = TIM_AUTORELOAD_PRELOAD_DISABLE;
  if (HAL_TIM_Base_Init(&htim6) != HAL_OK)
  {
    Error_Handler();
  }
  sMasterConfig.MasterOutputTrigger = TIM_TRGO_UPDATE;
  sMasterConfig.MasterSlaveMode = TIM_MASTERSLAVEMODE_DISABLE;
  if (HAL_TIMEx_MasterConfigSynchronization(&htim6, &sMasterConfig) != HAL_OK)
  {
    Error_Handler();
  }

}

static void MX_TIM7_Init(void)
{

  TIM_MasterConfigTypeDef sMasterConfig = {0};

  htim7.Instance = TIM7;
  htim7.Init.Prescaler = 20000;
  htim7.Init.CounterMode = TIM_COUNTERMODE_UP;
  htim7.Init.Period = 100;
  htim7.Init.AutoReloadPreload = TIM_AUTORELOAD_PRELOAD_DISABLE;
  if (HAL_TIM_Base_Init(&htim7) != HAL_OK)
  {
    Error_Handler();
  }
  sMasterConfig.MasterOutputTrigger = TIM_TRGO_RESET;
  sMasterConfig.MasterSlaveMode = TIM_MASTERSLAVEMODE_DISABLE;
  if (HAL_TIMEx_MasterConfigSynchronization(&htim7, &sMasterConfig) != HAL_OK)
  {
    Error_Handler();
  }

}

static void MX_TIM8_Init(void)
{

  TIM_ClockConfigTypeDef sClockSourceConfig = {0};
  TIM_MasterConfigTypeDef sMasterConfig = {0};

  htim8.Instance = TIM8;
  htim8.Init.Prescaler = 0;
  htim8.Init.CounterMode = TIM_COUNTERMODE_UP;
  htim8.Init.Period = 0;
  htim8.Init.ClockDivision = TIM_CLOCKDIVISION_DIV1;
  htim8.Init.RepetitionCounter = 0;
  htim8.Init.AutoReloadPreload = TIM_AUTORELOAD_PRELOAD_DISABLE;
  if (HAL_TIM_Base_Init(&htim8) != HAL_OK)
  {
    Error_Handler();
  }
  sClockSourceConfig.ClockSource = TIM_CLOCKSOURCE_INTERNAL;
  if (HAL_TIM_ConfigClockSource(&htim8, &sClockSourceConfig) != HAL_OK)
  {
    Error_Handler();
  }
  sMasterConfig.MasterOutputTrigger = TIM_TRGO_UPDATE;
  sMasterConfig.MasterOutputTrigger2 = TIM_TRGO2_RESET;
  sMasterConfig.MasterSlaveMode = TIM_MASTERSLAVEMODE_DISABLE;
  if (HAL_TIMEx_MasterConfigSynchronization(&htim8, &sMasterConfig) != HAL_OK)
  {
    Error_Handler();
  }

}

static void MX_TIM15_Init(void)
{

  TIM_ClockConfigTypeDef sClockSourceConfig = {0};
  TIM_MasterConfigTypeDef sMasterConfig = {0};
  TIM_OC_InitTypeDef sConfigOC = {0};
  TIM_BreakDeadTimeConfigTypeDef sBreakDeadTimeConfig = {0};

  htim15.Instance = TIM15;
  htim15.Init.Prescaler = 4800;
  htim15.Init.CounterMode = TIM_COUNTERMODE_UP;
  htim15.Init.Period = 40000;
  htim15.Init.ClockDivision = TIM_CLOCKDIVISION_DIV1;
  htim15.Init.RepetitionCounter = 0;
  htim15.Init.AutoReloadPreload = TIM_AUTORELOAD_PRELOAD_DISABLE;
  if (HAL_TIM_Base_Init(&htim15) != HAL_OK)
  {
    Error_Handler();
  }
  sClockSourceConfig.ClockSource = TIM_CLOCKSOURCE_INTERNAL;
  if (HAL_TIM_ConfigClockSource(&htim15, &sClockSourceConfig) != HAL_OK)
  {
    Error_Handler();
  }
  if (HAL_TIM_PWM_Init(&htim15) != HAL_OK)
  {
    Error_Handler();
  }
  sMasterConfig.MasterOutputTrigger = TIM_TRGO_RESET;
  sMasterConfig.MasterSlaveMode = TIM_MASTERSLAVEMODE_DISABLE;
  if (HAL_TIMEx_MasterConfigSynchronization(&htim15, &sMasterConfig) != HAL_OK)
  {
    Error_Handler();
  }
  sConfigOC.OCMode = TIM_OCMODE_PWM1;
  sConfigOC.Pulse = 1000;
  sConfigOC.OCPolarity = TIM_OCPOLARITY_LOW;
  sConfigOC.OCNPolarity = TIM_OCNPOLARITY_HIGH;
  sConfigOC.OCFastMode = TIM_OCFAST_DISABLE;
  sConfigOC.OCIdleState = TIM_OCIDLESTATE_RESET;
  sConfigOC.OCNIdleState = TIM_OCNIDLESTATE_RESET;
  if (HAL_TIM_PWM_ConfigChannel(&htim15, &sConfigOC, TIM_CHANNEL_1) != HAL_OK)
  {
    Error_Handler();
  }
  sBreakDeadTimeConfig.OffStateRunMode = TIM_OSSR_DISABLE;
  sBreakDeadTimeConfig.OffStateIDLEMode = TIM_OSSI_DISABLE;
  sBreakDeadTimeConfig.LockLevel = TIM_LOCKLEVEL_OFF;
  sBreakDeadTimeConfig.DeadTime = 0;
  sBreakDeadTimeConfig.BreakState = TIM_BREAK_DISABLE;
  sBreakDeadTimeConfig.BreakPolarity = TIM_BREAKPOLARITY_HIGH;
  sBreakDeadTimeConfig.BreakFilter = 0;
  sBreakDeadTimeConfig.AutomaticOutput = TIM_AUTOMATICOUTPUT_DISABLE;
  if (HAL_TIMEx_ConfigBreakDeadTime(&htim15, &sBreakDeadTimeConfig) != HAL_OK)
  {
    Error_Handler();
  }
  HAL_TIM_MspPostInit(&htim15);

}

static void MX_DMA_Init(void)
{

  /* DMA controller clock enable */
  __HAL_RCC_DMA1_CLK_ENABLE();

  /* DMA interrupt init */
  /* DMA1_Stream0_IRQn interrupt configuration */
  HAL_NVIC_SetPriority(DMA1_Stream0_IRQn, 0, 0);
  HAL_NVIC_EnableIRQ(DMA1_Stream0_IRQn);

}

static void MX_GPIO_Init(void)
{
  GPIO_InitTypeDef GPIO_InitStruct = {0};

  /* GPIO Ports Clock Enable */
  __HAL_RCC_GPIOE_CLK_ENABLE();
  __HAL_RCC_GPIOH_CLK_ENABLE();
  __HAL_RCC_GPIOC_CLK_ENABLE();
  __HAL_RCC_GPIOA_CLK_ENABLE();
  __HAL_RCC_GPIOB_CLK_ENABLE();
  __HAL_RCC_GPIOD_CLK_ENABLE();

  /*Configure GPIO pin Output Level */
  HAL_GPIO_WritePin(SPI4_SS_GPIO_Port, SPI4_SS_Pin, GPIO_PIN_SET);

  /*Configure GPIO pin Output Level */
  HAL_GPIO_WritePin(SPI1_SS_GPIO_Port, SPI1_SS_Pin, GPIO_PIN_RESET);

  /*Configure GPIO pin Output Level */
  HAL_GPIO_WritePin(DIGITAL0_GPIO_Port, DIGITAL0_Pin, GPIO_PIN_RESET);

  /*Configure GPIO pin : SPI4_SS_Pin */
  GPIO_InitStruct.Pin = SPI4_SS_Pin;
  GPIO_InitStruct.Mode = GPIO_MODE_OUTPUT_PP;
  GPIO_InitStruct.Pull = GPIO_PULLUP;
  GPIO_InitStruct.Speed = GPIO_SPEED_FREQ_MEDIUM;
  HAL_GPIO_Init(SPI4_SS_GPIO_Port, &GPIO_InitStruct);

  /*Configure GPIO pin : SD_CD_Pin */
  GPIO_InitStruct.Pin = SD_CD_Pin;
  GPIO_InitStruct.Mode = GPIO_MODE_INPUT;
  GPIO_InitStruct.Pull = GPIO_PULLDOWN;
  HAL_GPIO_Init(SD_CD_GPIO_Port, &GPIO_InitStruct);

  /*Configure GPIO pin : PC9 */
  GPIO_InitStruct.Pin = GPIO_PIN_9;
  GPIO_InitStruct.Mode = GPIO_MODE_AF_PP;
  GPIO_InitStruct.Pull = GPIO_NOPULL;
  GPIO_InitStruct.Speed = GPIO_SPEED_FREQ_VERY_HIGH;
  GPIO_InitStruct.Alternate = GPIO_AF12_SDIO1;
  HAL_GPIO_Init(GPIOC, &GPIO_InitStruct);

  /*Configure GPIO pin : DIGITAL2_Pin */
  GPIO_InitStruct.Pin = DIGITAL2_Pin;
  GPIO_InitStruct.Mode = GPIO_MODE_INPUT;
  GPIO_InitStruct.Pull = GPIO_NOPULL;
  HAL_GPIO_Init(DIGITAL2_GPIO_Port, &GPIO_InitStruct);

  /*Configure GPIO pin : SPI1_SS_Pin */
  GPIO_InitStruct.Pin = SPI1_SS_Pin;
  GPIO_InitStruct.Mode = GPIO_MODE_OUTPUT_PP;
  GPIO_InitStruct.Pull = GPIO_NOPULL;
  GPIO_InitStruct.Speed = GPIO_SPEED_FREQ_LOW;
  HAL_GPIO_Init(SPI1_SS_GPIO_Port, &GPIO_InitStruct);

  /*Configure GPIO pin : DIGITAL0_Pin */
  GPIO_InitStruct.Pin = DIGITAL0_Pin;
  GPIO_InitStruct.Mode = GPIO_MODE_OUTPUT_PP;
  GPIO_InitStruct.Pull = GPIO_NOPULL;
  GPIO_InitStruct.Speed = GPIO_SPEED_FREQ_LOW;
  HAL_GPIO_Init(DIGITAL0_GPIO_Port, &GPIO_InitStruct);

  /*Configure GPIO pin : DIGITAL1_Pin */
  GPIO_InitStruct.Pin = DIGITAL1_Pin;
  GPIO_InitStruct.Mode = GPIO_MODE_INPUT;
  GPIO_InitStruct.Pull = GPIO_NOPULL;
  HAL_GPIO_Init(DIGITAL1_GPIO_Port, &GPIO_InitStruct);

}

void Error_Handler(void)
{
}

/************************ (C) COPYRIGHT STMicroelectronics *****END OF FILE****/
